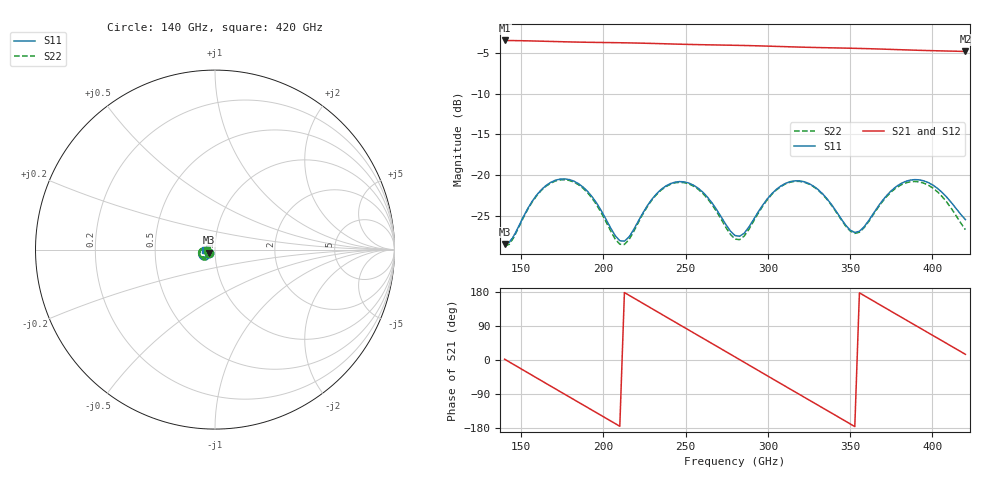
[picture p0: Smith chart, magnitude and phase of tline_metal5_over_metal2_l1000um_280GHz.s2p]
#  GHZ S DB R 50
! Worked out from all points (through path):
!   101 points, 140 GHz to 420 GHz, reference 50 ohm
!   highest |S21| = -3.44 dB at 140 GHz (marker M1); lowest = -4.8 dB at 420 GHz (marker M2)
!   group delay of S21, straight-line fit = 7.02 ps
!   lowest |S11| = -28.5 dB at 140 GHz (marker M3), VSWR 1.08, Z = 46.7 - j1.58 ohm
!   |S11| at or under -10 dB: start of sweep to end of sweep
!   |S22| runs from -28.7 to -20.6 dB; largest |S21 - S12| = 1.1e-13
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140  -28.48 -153.5  -3.44 2.1  -3.44 2.1  -28.74 -153.7
151.2  -25.20 -127.0  -3.48 -26.3  -3.48 -26.3  -25.32 -127.0
165.2  -21.27 -138.3  -3.54 -61.8  -3.54 -61.8  -21.36 -138.8
176.4  -20.46 -155.8  -3.60 -90.1  -3.60 -90.1  -20.56 -156.6
187.6  -21.46 -172.7  -3.65 -118.3  -3.65 -118.3  -21.60 -173.8
201.6  -25.42 178.8  -3.70 -153.6  -3.70 -153.6  -25.73 177.5
212.8  -28.13 -154.7  -3.73 178.0  -3.73 178.0  -28.53 -154.1
224  -24.66 -135.4  -3.78 149.6  -3.78 149.6  -24.79 -134.6
235.2  -21.75 -143.5  -3.84 121.2  -3.84 121.2  -21.83 -143.4
254.8  -21.24 -170.9  -3.94 71.8  -3.94 71.8  -21.35 -171.6
268.8  -24.23 177.5  -4.00 36.5  -4.00 36.5  -24.47 176.4
280  -27.43 -166.9  -4.04 8.1  -4.04 8.1  -27.86 -167.0
291.2  -25.49 -141.4  -4.09 -20.3  -4.09 -20.3  -25.70 -140.1
305.2  -21.74 -146.2  -4.17 -55.7  -4.17 -55.7  -21.82 -145.7
316.4  -20.70 -160.5  -4.24 -83.9  -4.24 -83.9  -20.76 -160.5
327.6  -21.34 -175.2  -4.30 -112.1  -4.30 -112.1  -21.40 -175.5
341.6  -24.48 176.6  -4.36 -147.4  -4.36 -147.4  -24.57 175.9
352.8  -27.05 -164.8  -4.41 -175.7  -4.41 -175.7  -27.17 -165.6
375.2  -21.87 -147.4  -4.54 127.7  -4.54 127.7  -22.01 -149.0
386.4  -20.62 -160.3  -4.62 99.5  -4.62 99.5  -20.82 -162.4
397.6  -20.93 -174.3  -4.68 71.4  -4.68 71.4  -21.25 -177.1
420  -25.47 -178.6  -4.79 15.0  -4.79 15.0  -26.71 179.4
